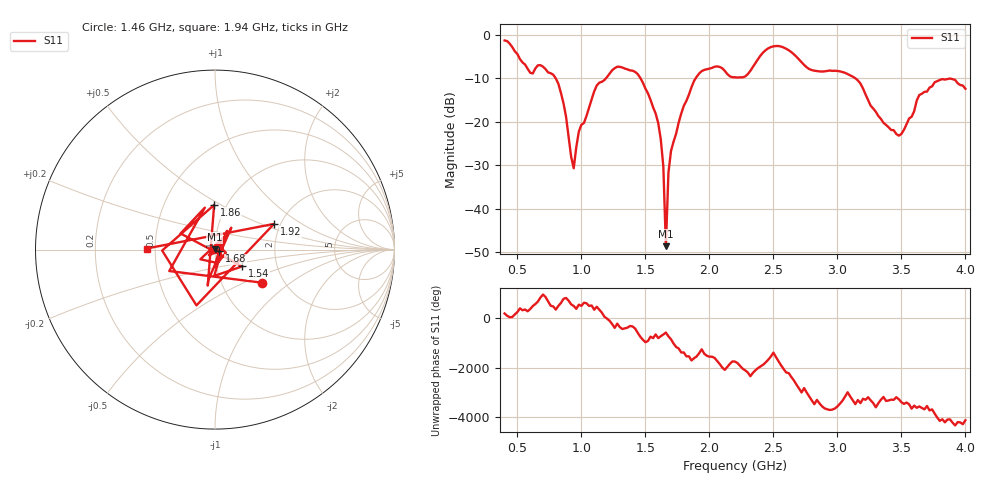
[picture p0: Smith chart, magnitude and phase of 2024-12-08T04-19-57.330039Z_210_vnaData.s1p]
!Created with skrf (http://scikit-rf.org).
# Hz S RI R 50.0
!freq ReS11 ImS11
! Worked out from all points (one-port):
!   181 points, 400 MHz to 4 GHz, reference 50 ohm
!   lowest |S11| = -48.6 dB at 1.66 GHz (marker M1), VSWR 1.01, Z = 49.7 + j0.268 ohm
!   |S11| at or under -10 dB: 798.8 MHz to 1.192 GHz (393.4 MHz wide, 39.5 % of centre); 1.461 GHz to 1.893 GHz (431.9 MHz wide, 25.7 % of centre); 3.14 GHz to end of sweep
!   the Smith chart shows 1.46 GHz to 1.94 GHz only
!   S11 on the Smith chart (normalised r, x): 1.46 GHz: 1.55, -0.63; 1.54 GHz: 1.33, -0.26; 1.68 GHz: 1.05, -0.02; 1.86 GHz: 0.88, +0.46; 1.92 GHz: 1.85, +0.61; 1.94 GHz: 0.45, +0.01
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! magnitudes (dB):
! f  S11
! 400 MHz  -1.3
! 600 MHz  -8.7
! 780 MHz  -9.2
! 860 MHz  -15.8
! 940 MHz  -30.7
! 980 MHz  -22.3
! 1.12 GHz  -11.7
! 1.3 GHz  -7.4
! 1.46 GHz  -9.9
! 1.54 GHz  -15.0
! 1.62 GHz  -24.0
! 1.64 GHz  -30.2
! 1.66 GHz  -48.6
! 1.68 GHz  -31.7
! 1.7 GHz  -26.7
! 1.76 GHz  -20.2
! 1.86 GHz  -12.1
! 1.92 GHz  -8.9
! 1.94 GHz  -8.4
! 2.2 GHz  -9.8
! 2.48 GHz  -2.8
! 2.66 GHz  -4.5
! 2.8 GHz  -8.1
! 3.1 GHz  -9.3
! 3.46 GHz  -22.8
! 3.56 GHz  -19.3
! 3.76 GHz  -10.9
! 4 GHz  -12.4
